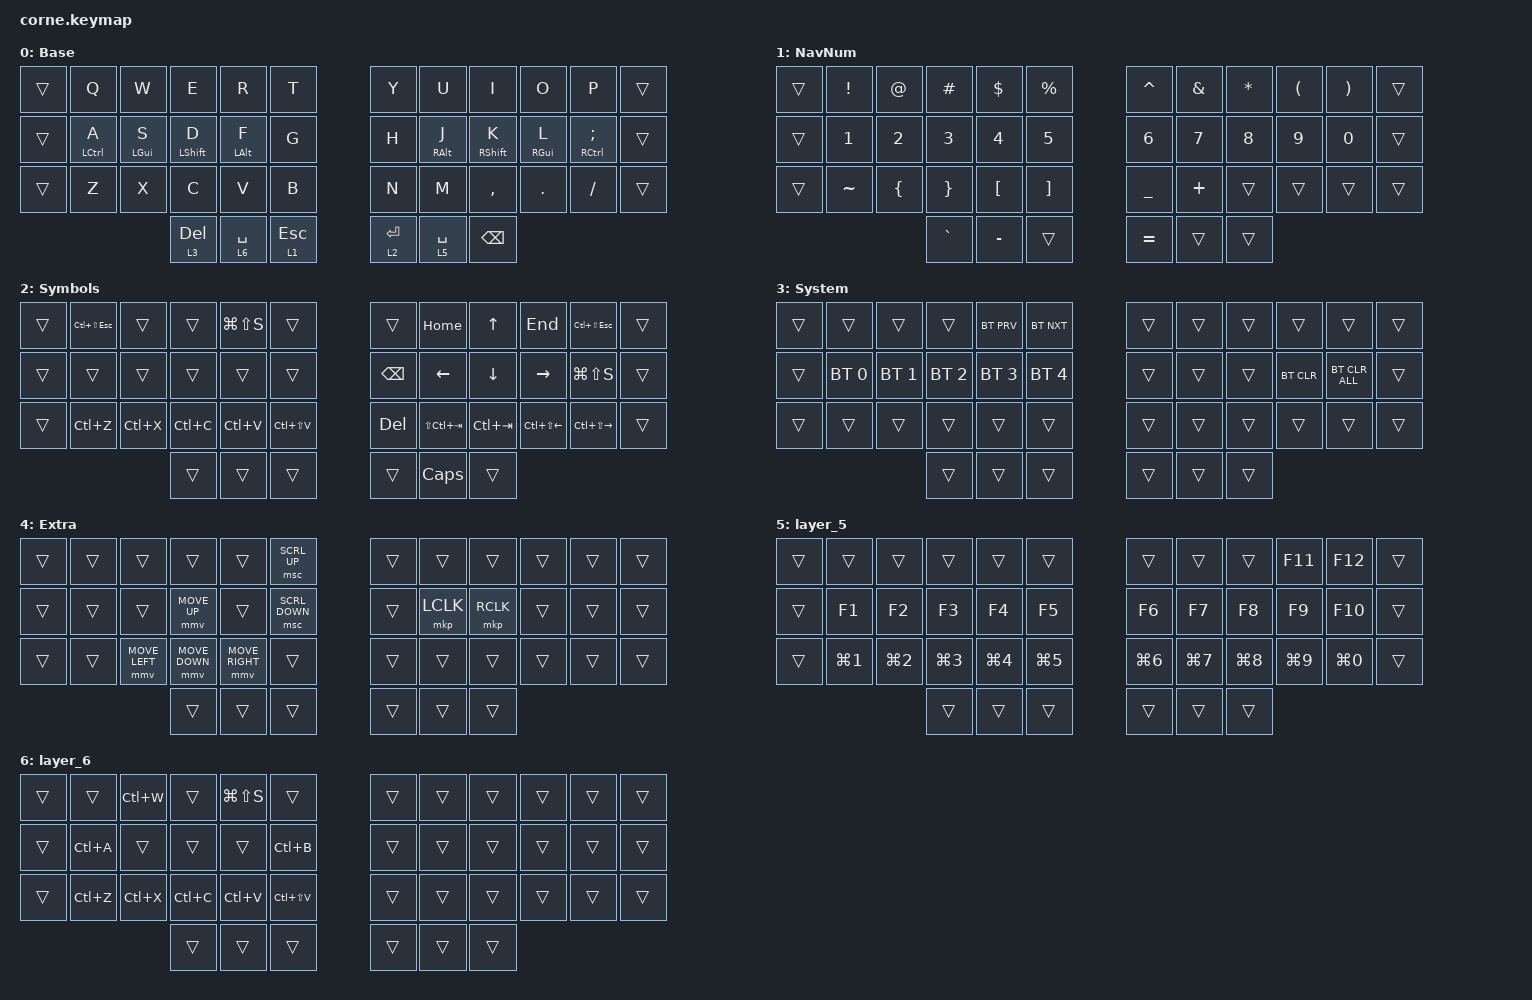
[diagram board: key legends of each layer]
#include <behaviors.dtsi>
#include <dt-bindings/zmk/bt.h>
#include <dt-bindings/zmk/keys.h>
#include <dt-bindings/zmk/pointing.h>

#define DEF 0
#define NAV 1
#define SYM 2
#define ADJ 3
#define EXTRA 4

/ {
    behaviors {
        hm: homerow_mods {
            compatible = "zmk,behavior-hold-tap";
            #binding-cells = <2>;
            tapping-term-ms = <200>;
            flavor = "tap-preferred";
            bindings = <&kp>, <&kp>;

            quick-tap-ms = <180>;
            require-prior-idle-ms = <120>; /* tune to taste */
        };

        para: para {
            compatible = "zmk,behavior-tap-dance";
            #binding-cells = <0>;
            bindings = <&kp LEFT_PARENTHESIS>, <&kp RIGHT_PARENTHESIS>;
        };

        caps: caps {
            compatible = "zmk,behavior-caps-word";
            #binding-cells = <0>;
            continue-list = <MINUS BACKSPACE>;
        };

        paraless: paraless {
            compatible = "zmk,behavior-mod-morph";
            bindings = <&kp LEFT_PARENTHESIS>, <&kp LESS_THAN>;

            #binding-cells = <0>;
            mods = <(MOD_LSFT)>;
        };

        paragreat: paragreat {
            compatible = "zmk,behavior-mod-morph";
            bindings = <&kp RIGHT_PARENTHESIS>, <&kp GREATER_THAN>;

            #binding-cells = <0>;
            mods = <(MOD_LSFT)>;
        };
    };

    macros {
        browsertab: browsertab {
            compatible = "zmk,behavior-macro";
            #binding-cells = <0>;
            bindings =
                <&macro_press>,
                <&kp LCTRL>,
                <&macro_tap>,
                <&kp TAB>,
                <&macro_release>,
                <&kp LCTRL>;
        };
    };

    combos {
        compatible = "zmk,combos";

        cap {
            bindings = <&kp CAPSLOCK>;
            key-positions = <14 15 16>;
        };

        tab {
            bindings = <&kp TAB>;
            key-positions = <1 2>;
        };

        apos {
            bindings = <&kp APOS>;
            key-positions = <21 22>;
        };

        dash {
            bindings = <&kp MINUS>;
            key-positions = <19 20>;
        };
    };

    //

    keymap {
        compatible = "zmk,keymap";

        DEF {
            display-name = "Base";

            // -----------------------------------------------------------------------------------------
            // |  Q  |  W  |  E  |  R  |  T  |   |  Y  |  U   |  I  |  O  |  P  |
            // |  A  |  S  |  D  |  F  |  G  |   |  H  |  J   |  K  |  L  |  ;  |
            // |  Z  |  X  |  C  |  V  |  B  |   |  N  |  M   |  ,  |  .  |  /  |
            // | GUI | CTRL | SHFT | LWR | SPC |   | ENT | RSE  | BKSP | ALT | ESC |

            bindings = <
&trans  &kp Q               &kp W           &kp E             &kp R           &kp T           &kp Y         &kp U            &kp I              &kp O            &kp P                   &trans
&trans  &hm LEFT_CONTROL A  &hm LEFT_GUI S  &hm LEFT_SHIFT D  &hm LEFT_ALT F  &kp G           &kp H         &hm RIGHT_ALT J  &hm RIGHT_SHIFT K  &hm RIGHT_GUI L  &hm RIGHT_CONTROL SEMI  &trans
&trans  &kp Z               &kp X           &kp C             &kp V           &kp B           &kp N         &kp M            &kp COMMA          &kp DOT          &kp FSLH                &trans
                                            &lt 3 DELETE      &lt 6 SPACE     &lt 1 ESCAPE    &lt 2 RETURN  &lt 5 SPACE      &kp BACKSPACE
            >;
        };

        NUMSYM {
            display-name = "NavNum";

            // -----------------------------------------------------------------------------------------
            // |  TAB |  1  |  2  |  3  |  4  |  5  |   |  6  |  7  |  8  |  9  |  0  | BKSP |
            // | BTCLR| BT1 | BT2 | BT3 | BT4 | BT5 |   | LFT | DWN |  UP | RGT |     |      |
            // | SHFT |     |     |     |     |     |   |     |     |     |     |     |      |
            // | GUI | CTRL | SHFT | LWR | SPC |   | ENT | RSE  | BKSP | ALT | ESC |

            bindings = <
&trans  &kp EXCL   &kp AT_SIGN     &kp HASH         &kp DOLLAR        &kp PERCENT          &kp CARET       &kp AMPERSAND  &kp ASTERISK  &kp LEFT_PARENTHESIS  &kp RIGHT_PARENTHESIS  &trans
&trans  &kp N1     &kp N2          &kp N3           &kp N4            &kp N5               &kp N6          &kp N7         &kp N8        &kp N9                &kp N0                 &trans
&trans  &kp TILDE  &kp LEFT_BRACE  &kp RIGHT_BRACE  &kp LEFT_BRACKET  &kp RIGHT_BRACKET    &kp UNDERSCORE  &kp PLUS       &trans        &trans                &trans                 &trans
                                   &kp GRAVE        &kp MINUS         &trans               &kp EQUAL       &trans         &trans
            >;
        };

        NAV {
            display-name = "Symbols";

            // -----------------------------------------------------------------------------------------
            // |  TAB |  !  |  @  |  #  |  $  |  %  |   |  ^  |  &  |  *  |  (  |  )  | BKSP |
            // | CTRL |     |     |     |     |     |   |  -  |  =  |  [  |  ]  |  \  |  `   |
            // | SHFT |     |     |     |     |     |   |  _  |  +  |  {  |  }  | "|" |  ~   |
            //                    | GUI |     | SPC |   | ENT |     | ALT |

            bindings = <
&trans  &kp LC(LS(ESCAPE))  &trans     &trans     &kp LG(LS(S))  &trans           &trans         &kp HOME         &kp UP_ARROW  &kp END           &kp LC(LS(ESCAPE))  &trans
&trans  &trans              &trans     &trans     &trans         &trans           &kp BACKSPACE  &kp LEFT         &kp DOWN      &kp RIGHT         &kp LG(LS(S))       &trans
&trans  &kp LC(Z)           &kp LC(X)  &kp LC(C)  &kp LC(V)      &kp LC(LS(V))    &kp DELETE     &kp LS(LC(TAB))  &kp LC(TAB)   &kp LC(LS(LEFT))  &kp LC(LS(RIGHT))   &trans
                                       &trans     &trans         &trans           &trans         &kp CAPS         &trans
            >;
        };

        bluetooth {
            display-name = "System";
            bindings = <
&trans  &trans        &trans        &trans        &bt BT_PRV    &bt BT_NXT      &trans  &trans  &trans  &trans      &trans          &trans
&trans  &bt BT_SEL 0  &bt BT_SEL 1  &bt BT_SEL 2  &bt BT_SEL 3  &bt BT_SEL 4    &trans  &trans  &trans  &bt BT_CLR  &bt BT_CLR_ALL  &trans
&trans  &trans        &trans        &trans        &trans        &trans          &trans  &trans  &trans  &trans      &trans          &trans
                                    &trans        &trans        &trans          &trans  &trans  &trans
            >;
        };

        EXTRA {
            display-name = "Extra";
            bindings = <
&trans  &trans  &trans          &trans          &trans           &msc SCRL_UP      &trans  &trans     &trans     &trans  &trans  &trans
&trans  &trans  &trans          &mmv MOVE_UP    &trans           &msc SCRL_DOWN    &trans  &mkp LCLK  &mkp RCLK  &trans  &trans  &trans
&trans  &trans  &mmv MOVE_LEFT  &mmv MOVE_DOWN  &mmv MOVE_RIGHT  &trans            &trans  &trans     &trans     &trans  &trans  &trans
                                &trans          &trans           &trans            &trans  &trans     &trans
            >;
        };

        layer_5 {
            bindings = <
&trans  &trans            &trans            &trans            &trans            &trans              &trans            &trans      &trans      &kp F11     &kp F12     &trans
&trans  &kp F1            &kp F2            &kp F3            &kp F4            &kp F5              &kp F6            &kp F7      &kp F8      &kp F9      &kp F10     &trans
&trans  &kp LG(NUMBER_1)  &kp LG(NUMBER_2)  &kp LG(NUMBER_3)  &kp LG(NUMBER_4)  &kp LG(NUMBER_5)    &kp LG(NUMBER_6)  &kp LG(N7)  &kp LG(N8)  &kp LG(N9)  &kp LG(N0)  &trans
                                            &trans            &trans            &trans              &trans            &trans      &trans
            >;
        };

        layer_6 {
            bindings = <
&trans  &trans     &kp LC(W)  &trans     &kp LG(LS(S))  &trans           &trans  &trans  &trans  &trans  &trans  &trans
&trans  &kp LC(A)  &trans     &trans     &trans         &kp LC(B)        &trans  &trans  &trans  &trans  &trans  &trans
&trans  &kp LC(Z)  &kp LC(X)  &kp LC(C)  &kp LC(V)      &kp LC(LS(V))    &trans  &trans  &trans  &trans  &trans  &trans
                              &trans     &trans         &trans           &trans  &trans  &trans
            >;
        };
    };
};
